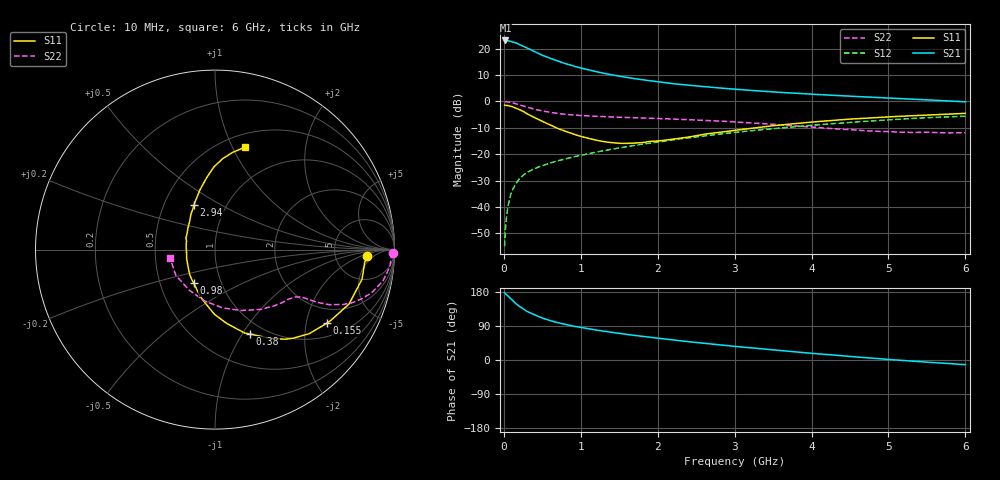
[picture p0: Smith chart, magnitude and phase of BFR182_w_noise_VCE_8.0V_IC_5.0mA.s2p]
! Infineon Technologies  Discrete & RF Semiconductors
! BFR182
! VCE =  8.0 V,  IC =  5.0 mA
! Common Emitter S-Parameters:  Nov 2015
# GHz  S  MA  R  50
!  f  S11  S21  S12  S22
! GHz  MAG  ANG  MAG  ANG  MAG  ANG  MAG  ANG
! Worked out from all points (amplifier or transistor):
!   210 points, 10 MHz to 6 GHz, reference 50 ohm
!   highest |S21| = 23.1 dB at 20 MHz (marker M1)
!   |S21| within 3 dB of that: start of sweep to 313.1 MHz
!   unconditionally stable (mu >= 1): 1.141 GHz to 2.938 GHz
!   at 185 MHz: K = 0.32, MSG = 25.9 dB, |S12| = -30.0 dB
!   at 1.52 GHz: K = 1.05, MAG = 12.2 dB, |S12| = -17.5 dB
!   at 6 GHz: K = 0.88, MSG = 2.7 dB, |S12| = -5.6 dB
!   lowest NFmin = 1.20 dB at 450 MHz
!   S11 on the Smith chart (normalised r, x): 10 MHz: 12, -3; 155 MHz: 1.42, -2.64; 380 MHz: 0.85, -1.08; 980 MHz: 0.74, -0.29; 2.94 GHz: 0.71, +0.38; 6 GHz: 0.64, +1.12
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0.01  0.849 -2.3  14.24 177.6  0.0018 89.6  0.9898 -1.1
0.02  0.8374 -4.7  14.29 175.3  0.0036 88.5  0.9827 -2.3
0.05  0.8356 -11.4  14.22 169.5  0.0094 84.1  0.9791 -5.5
0.1  0.8057 -22.2  13.56 159.9  0.0191 78.1  0.9525 -10.5
0.155  0.7464 -33.4  12.89 149.0  0.0273 73.3  0.9041 -15.4
0.2  0.7037 -41.7  12.05 142.1  0.0338 69.7  0.8648 -18.4
0.26  0.6353 -51.8  10.95 133.6  0.0405 65.8  0.8132 -21.5
0.3  0.5854 -57.7  10.33 128.3  0.0449 64.9  0.7783 -23.1
0.38  0.5088 -67.6  9.081 121.0  0.0515 62.3  0.7218 -25.1
0.5  0.4163 -81.0  7.475 110.5  0.0605 60.9  0.6577 -26.9
0.6  0.3603 -90.5  6.57 104.1  0.0677 60.1  0.6195 -27.6
0.7  0.3074 -99.4  5.836 98.4  0.0746 60.4  0.5901 -28.0
0.8  0.2714 -108.2  5.202 93.6  0.0813 60.5  0.5679 -28.4
0.98  0.2215 -122.7  4.365 86.5  0.0935 61.1  0.5423 -29.1
1.02  0.2133 -126.5  4.22 85.1  0.0961 61.2  0.5379 -29.3
1.4  0.1656 -162.2  3.188 73.0  0.1233 62.0  0.507 -32.1
2.02  0.1784 151.2  2.328 57.1  0.1721 60.6  0.4737 -39.0
2.94  0.2748 115.2  1.729 37.2  0.2524 55.3  0.4129 -54.0
3.1  0.2942 111.5  1.66 34.2  0.267 53.9  0.3988 -57.3
4.1  0.4162 95.1  1.346 16.1  0.3615 44.5  0.3177 -86.0
5.1  0.5176 83.9  1.143 0.1  0.4556 32.7  0.2626 -127.5
6  0.5931 73.8  0.981 -12.3  0.5246 20.2  0.2555 -169.6
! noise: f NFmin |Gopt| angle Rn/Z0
0.45  1.2  0.27  37  0.3
0.9  1.3  0.25  75  0.23
1.8  1.9  0.21  145  0.2
